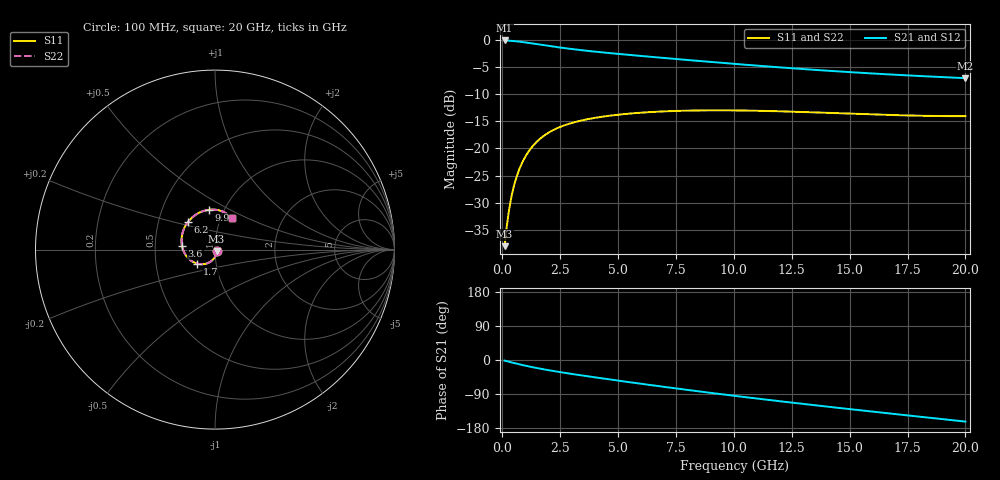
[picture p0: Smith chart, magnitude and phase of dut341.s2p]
! Touchstone file exported from HFSS 2024.1.0
!  File:  C:/UserFiles/LocalFiles/RDL_TSV_Batchsim/temp_RDL_TSV_341_1779634740.aedt
!  Generated:  11:13:20 PM May 24, 2026
!  Design:  RDL_TSV
!  Project:  temp_RDL_TSV_341_1779634740
!  Setup:  Setup1
!  Solution:  Sweep
! Variables:
!  dtsv = 14.12um
!  hbump = 3um
!  htsv = 82.89um
!  ldown = 108.64um
!  lrdl = 442.35um
!  p = 40
!  p1 = 41.01um
!  rhole = 10um
!  subl = 2095.32um
!  t = 450um
!  tdown = 3.71um
!  trdl = 3.3um
!  viad = 10um
!  wdown = 15.64um
!  wrdl = 29.26um
!  xbump = 18um
# GHz S MA R 50.000000
! Terminal data exported
! Port[1] = TM1_1_T1
! Port[2] = TM1_4_T1
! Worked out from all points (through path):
!   200 points, 100 MHz to 20 GHz, reference 50 ohm
!   highest |S21| = -0.09 dB at 100 MHz (marker M1); lowest = -7.0 dB at 20 GHz (marker M2)
!   group delay of S21, straight-line fit = 21.4 ps
!   lowest |S11| = -38.0 dB at 100 MHz (marker M3), VSWR 1.03, Z = 50.9 - j0.897 ohm
!   |S11| at or under -10 dB: start of sweep to end of sweep
!   |S22| runs from -38.0 to -13.0 dB; largest |S21 - S12| = 3e-14
!   S11 on the Smith chart (normalised r, x): 100 MHz: 1.02, -0.02; 1.7 GHz: 0.81, -0.13; 3.6 GHz: 0.69, +0.03; 6.2 GHz: 0.71, +0.23; 9.9 GHz: 0.85, +0.40; 20 GHz: 1.13, +0.41
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0.1  0.01256 -44.5  0.99 -1.6  0.99 -1.6  0.01256 -44.5
! Gamma 0 0 0 0
! Port Impedance 50 0 50 0
0.2  0.01962 -66.2  0.9879 -3.3  0.9879 -3.3  0.01962 -66.2
0.3  0.02784 -78.3  0.9849 -4.8  0.9849 -4.8  0.02784 -78.3
0.4  0.0364 -86.8  0.9812 -6.4  0.9812 -6.4  0.0364 -86.8
0.6  0.05338 -99.3  0.9724 -9.4  0.9724 -9.4  0.05338 -99.3
0.8  0.0695 -109.2  0.9616 -12.3  0.9616 -12.3  0.0695 -109.2
1.1  0.09137 -121.6  0.9428 -16.4  0.9428 -16.4  0.09137 -121.6
1.4  0.1103 -132.3  0.9224 -20.1  0.9224 -20.1  0.1103 -132.3
1.7  0.1263 -141.8  0.9018 -23.7  0.9018 -23.7  0.1263 -141.8
2.5  0.1579 -163.1  0.8516 -32.0  0.8516 -32.0  0.1579 -163.1
3.5  0.1827 175.9  0.8018 -41.3  0.8018 -41.3  0.1826 175.9
3.6  0.1846 174.0  0.7974 -42.2  0.7974 -42.2  0.1845 174.0
4.9  0.2035 152.5  0.7478 -53.5  0.7478 -53.5  0.2034 152.5
6.2  0.2151 134.8  0.7058 -64.5  0.7058 -64.5  0.215 134.8
6.8  0.2187 127.6  0.6878 -69.4  0.6878 -69.4  0.2186 127.6
8.3  0.2238 111.9  0.6458 -81.3  0.6458 -81.3  0.2236 111.9
9.9  0.2244 98.1  0.6052 -93.6  0.6052 -93.6  0.2242 98.2
10.1  0.2242 96.6  0.6005 -95.1  0.6005 -95.1  0.2239 96.6
11.7  0.2209 86.0  0.5649 -106.8  0.5649 -106.8  0.2206 86.0
13.4  0.2152 77.2  0.532 -118.7  0.532 -118.7  0.215 77.2
16.7  0.2036 66.6  0.4814 -140.9  0.4814 -140.9  0.2034 66.5
20  0.1983 62.1  0.4447 -162.5  0.4447 -162.5  0.1981 62.0
